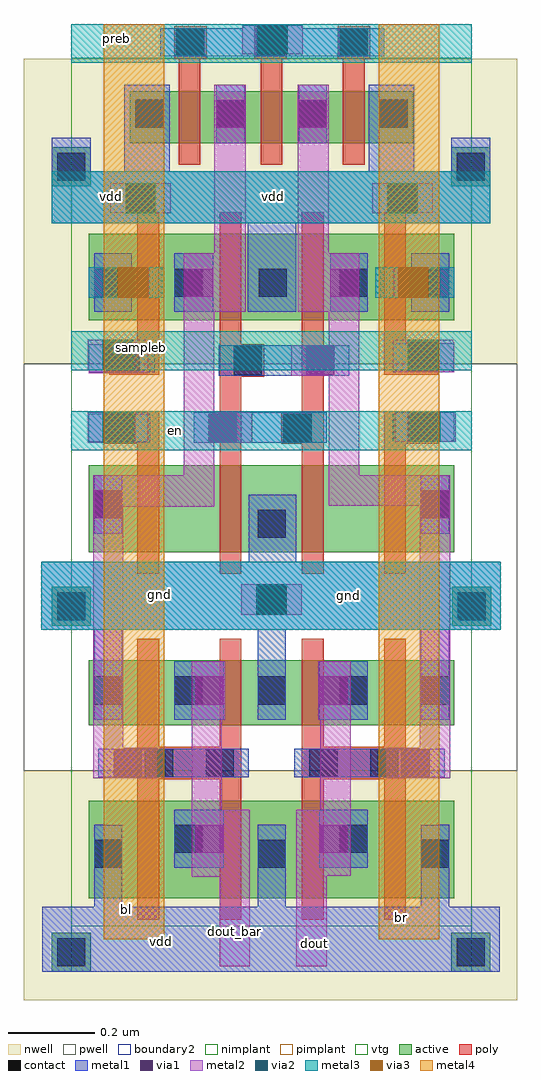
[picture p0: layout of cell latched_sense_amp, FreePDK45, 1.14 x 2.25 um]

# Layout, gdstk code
from math import pi, radians
import gdstk
lib = gdstk.Library(unit=1e-6, precision=5e-10)
def R(c, l, rs):  # rectangles x0, y0, x1, y1
    for r in rs: c.add(gdstk.rectangle(r[:2], r[2:], *l))
def A(c, l, x, y, w, h, nx, ny, dx, dy):  # array of equal rectangles
    R(c, l, [(x+i*dx, y+j*dy, x+i*dx+w, y+j*dy+h) for i in range(nx) for j in range(ny)])
active = (1, 0)
pwell = (2, 0)
nwell = (3, 0)
nimplant = (4, 0)
pimplant = (5, 0)
vtg = (6, 0)
poly = (9, 0)
contact = (10, 0)
metal1 = (11, 0)
via1 = (12, 0)
metal2 = (13, 0)
via2 = (14, 0)
metal3 = (15, 0)
via3 = (16, 0)
metal4 = (17, 0)
boundary2 = (239, 0)

m1_poly_cdns_61174354552 = lib.new_cell('M1_POLY_CDNS_611743545520')
R(m1_poly_cdns_61174354552, poly, [(-0.0375,-0.1075,0.0375,0.1075)])
R(m1_poly_cdns_61174354552, contact, [(-0.0325,-0.1025,0.0325,-0.0375), (-0.0325,0.0375,0.0325,0.1025)])
R(m1_poly_cdns_61174354552, metal1, [(-0.0325,-0.1375,0.0325,0.1375)])

c_m1_poly_cdns_61174354552 = lib.new_cell('M1_POLY_CDNS_611743545521')
R(c_m1_poly_cdns_61174354552, poly, [(-0.0375,-0.0375,0.0375,0.0375)])
R(c_m1_poly_cdns_61174354552, contact, [(-0.0325,-0.0325,0.0325,0.0325)])
R(c_m1_poly_cdns_61174354552, metal1, [(-0.0325,-0.0675,0.0325,0.0675)])

m2_m1_cdns_611743545522 = lib.new_cell('M2_M1_CDNS_611743545522')
R(m2_m1_cdns_611743545522, metal1, [(-0.0325,-0.0675,0.0325,0.0675)])
R(m2_m1_cdns_611743545522, via1, [(-0.0325,-0.0325,0.0325,0.0325)])
R(m2_m1_cdns_611743545522, metal2, [(-0.035,-0.0675,0.035,0.0675)])

m3_m2_cdns_611743545523 = lib.new_cell('M3_M2_CDNS_611743545523')
R(m3_m2_cdns_611743545523, metal2, [(-0.035,-0.07,0.035,0.07)])
R(m3_m2_cdns_611743545523, via2, [(-0.035,-0.035,0.035,0.035)])
R(m3_m2_cdns_611743545523, metal3, [(-0.035,-0.07,0.035,0.07)])

m2_m1_cdns_611743545524 = lib.new_cell('M2_M1_CDNS_611743545524')
R(m2_m1_cdns_611743545524, metal1, [(-0.0325,-0.0675,0.0325,0.0675)])
R(m2_m1_cdns_611743545524, via1, [(-0.0325,-0.0325,0.0325,0.0325)])
R(m2_m1_cdns_611743545524, metal2, [(-0.0675,-0.035,0.0675,0.035)])

m2_m1_via = lib.new_cell('M2_M1_via')
R(m2_m1_via, metal1, [(-0.0675,-0.0325,0.0675,0.0325)])
R(m2_m1_via, via1, [(-0.0325,-0.0325,0.0325,0.0325)])
R(m2_m1_via, metal2, [(-0.035,-0.0675,0.035,0.0675)])

latched_sense_amp = lib.new_cell('latched_sense_amp')
A(latched_sense_amp, active, 0.04, 0.2275, 0.09, 0.09, 3, 1, 0.3775, 0)
A(latched_sense_amp, active, 0.42, 1.5475, 0.09, 0.09, 3, 1, 0.1875, 0)
R(latched_sense_amp, active, [(-0.045,0,0.045,0.09), (0.8775,0,0.9675,0.09), (0.04,0.17,0.885,0.395), (0.225,0.2625,0.315,0.3525), (0.6075,0.2625,0.6975,0.3525), (0.04,0.57,0.885,0.72), (0.04,0.605,0.13,0.695), (0.225,0.605,0.315,0.695), (0.4175,0.605,0.5075,0.695), (0.6075,0.605,0.6975,0.695), (0.795,0.605,0.885,0.695), (-0.045,0.8,0.045,0.89), (0.88,0.8,0.97,0.89), (0.04,0.97,0.885,1.17), (0.04,1.035,0.13,1.125), (0.795,1.035,0.885,1.125), (0.04,1.505,0.885,1.705), (0.04,1.5475,0.13,1.6375), (0.225,1.5475,0.315,1.6375), (-0.045,1.815,0.045,1.905), (0.8775,1.815,0.9675,1.905), (0.135,1.915,0.79,2.035), (0.135,1.9375,0.225,2.0275), (0.3225,1.9375,0.4125,2.0275), (0.5125,1.9375,0.6025,2.0275), (0.7,1.9375,0.79,2.0275)])
R(latched_sense_amp, pwell, [(-0.11,0.465,1.03,1.405)])
R(latched_sense_amp, nwell, [(-0.11,-0.065,1.03,0.465), (-0.11,1.405,1.03,2.11)])
R(latched_sense_amp, nimplant, [(-0.045,0,0.045,0.09), (0.8775,0,0.9675,0.09), (0.04,0.57,0.885,0.72), (0.04,0.97,0.885,1.17), (-0.045,1.815,0.045,1.905), (0.8775,1.815,0.9675,1.905)])
R(latched_sense_amp, pimplant, [(0.04,0.17,0.885,0.395), (-0.045,0.8,0.045,0.89), (0.88,0.8,0.97,0.89), (0.04,1.505,0.885,1.705), (0.135,1.915,0.79,2.035)])
R(latched_sense_amp, vtg, [(0,0.105,0.925,2.1125)])
A(latched_sense_amp, poly, 0.1525, 0.12, 0.05, 0.65, 4, 1, 0.19, 0)
A(latched_sense_amp, poly, 0.2475, 1.865, 0.05, 0.32, 3, 1, 0.19, 0)
R(latched_sense_amp, poly, [(0.1525,0.92,0.2025,1.295), (0.3425,0.92,0.3925,1.755), (0.5325,0.92,0.5825,1.755), (0.7225,0.92,0.7725,1.295), (0.1525,1.38,0.2025,1.755), (0.7225,1.38,0.7725,1.755), (0.4225,2.11,0.4975,2.185)])
A(latched_sense_amp, contact, 0.0525, 0.24, 0.065, 0.065, 3, 1, 0.3775, 0)
A(latched_sense_amp, contact, 0.4325, 1.56, 0.065, 0.065, 3, 1, 0.1875, 0)
R(latched_sense_amp, contact, [(-0.0325,0.0125,0.0325,0.0775), (0.89,0.0125,0.955,0.0775), (0.2375,0.275,0.3025,0.34), (0.62,0.275,0.685,0.34), (0.0525,0.6175,0.1175,0.6825), (0.2375,0.6175,0.3025,0.6825), (0.43,0.6175,0.495,0.6825), (0.62,0.6175,0.685,0.6825), (0.8075,0.6175,0.8725,0.6825), (-0.0325,0.8125,0.0325,0.8775), (0.8925,0.8125,0.9575,0.8775), (0.43,1.0025,0.495,1.0675), (0.0525,1.0475,0.1175,1.1125), (0.8075,1.0475,0.8725,1.1125), (0.0525,1.56,0.1175,1.625), (0.2375,1.56,0.3025,1.625), (-0.0325,1.8275,0.0325,1.8925), (0.89,1.8275,0.955,1.8925), (0.1475,1.95,0.2125,2.015), (0.335,1.95,0.4,2.015), (0.525,1.95,0.59,2.015), (0.7125,1.95,0.7775,2.015), (0.4275,2.115,0.4925,2.18)])
A(latched_sense_amp, metal1, 0.0525, 0.0925, 0.065, 0.1575, 3, 1, 0.3775, 0)
A(latched_sense_amp, metal1, 0.0525, 0.205, 0.065, 0.135, 3, 1, 0.3775, 0)
A(latched_sense_amp, metal1, 0.4325, 1.525, 0.065, 0.135, 3, 1, 0.1875, 0)
R(latched_sense_amp, metal1, [(-0.0675,0,0.99,0.15), (0.2375,0.24,0.3025,0.375), (0.62,0.24,0.685,0.375), (0.0525,0.5825,0.1175,0.7175), (0.2375,0.5825,0.3025,0.7175), (0.43,0.5825,0.495,0.7175), (0.62,0.5825,0.685,0.7175), (0.8075,0.5825,0.8725,0.7175), (0.8075,0.6525,0.8725,0.885), (0.0525,0.66,0.1175,0.8925), (0.43,0.665,0.495,0.895), (-0.07,0.79,0.9925,0.9475), (0.43,0.885,0.495,1.0675), (0.41,0.915,0.52,1.1025), (0.0525,1.0125,0.1175,1.1475), (0.8075,1.0125,0.8725,1.1475), (0.2825,1.2225,0.59,1.2925), (0.34,1.3775,0.6425,1.4475), (0.0525,1.525,0.1175,1.66), (0.2375,1.525,0.3025,1.66), (0.4075,1.525,0.52,1.7625), (-0.045,1.73,0.9675,1.85), (0.1225,1.8075,0.2275,2.05), (0.6875,1.8075,0.7925,2.05), (-0.045,1.85,0.045,1.9275), (0.8775,1.85,0.9675,1.9275), (0.1475,1.915,0.2125,2.05), (0.335,1.915,0.4,2.05), (0.525,1.915,0.59,2.05), (0.7125,1.915,0.7775,2.05), (0.205,2.115,0.7225,2.18), (0.3925,2.115,0.5275,2.18), (0.3975,2.1225,0.5325,2.1875)])
R(latched_sense_amp, via1, [(0.4325,2.1225,0.4975,2.1875)])
R(latched_sense_amp, metal2, [(0.3425,0.0125,0.4125,0.375), (0.52,0.0125,0.59,0.375), (0.2775,0.22,0.3475,0.7175), (0.575,0.2225,0.645,0.7175), (0.05,0.4475,0.12,1.145), (0.805,0.4475,0.875,1.145), (0.05,1.075,0.33,1.1475), (0.595,1.0775,0.875,1.1475), (0.26,1.1325,0.33,1.66), (0.595,1.1325,0.665,1.55), (0.33,1.525,0.4025,2.05), (0.5225,1.525,0.595,2.05), (0.395,2.12,0.535,2.19), (0.3975,2.12,0.5325,2.19)])
R(latched_sense_amp, via2, [(0.43,2.12,0.5,2.19)])
R(latched_sense_amp, metal3, [(-0.07,0.79,0.9925,0.9475), (0,1.205,0.925,1.295), (0,1.39,0.925,1.48), (0.045,1.5575,0.215,1.6275), (0.7025,1.5575,0.865,1.6275), (-0.045,1.73,0.9675,1.85), (0,2.1,0.925,2.19), (0.395,2.12,0.535,2.19)])
R(latched_sense_amp, via3, [(0.1075,1.5575,0.1775,1.6275), (0.755,1.5575,0.825,1.6275)])
R(latched_sense_amp, metal4, [(0.075,0.075,0.215,2.19), (0.71,0.075,0.85,2.19)])
R(latched_sense_amp, boundary2, [(0,0,0.925,2.19)])
latched_sense_amp.add(gdstk.Reference(m1_poly_cdns_61174354552, (0.6525,0.4825), rotation=pi/2))
latched_sense_amp.add(gdstk.Reference(m1_poly_cdns_61174354552, (0.2725,0.4825), rotation=pi/2))
latched_sense_amp.add(gdstk.Reference(c_m1_poly_cdns_61174354552, (0.6525,2.1475), rotation=pi/2))
latched_sense_amp.add(gdstk.Reference(c_m1_poly_cdns_61174354552, (0.275,2.1475), rotation=pi/2))
latched_sense_amp.add(gdstk.Reference(c_m1_poly_cdns_61174354552, (0.81,1.4175), rotation=pi/2))
latched_sense_amp.add(gdstk.Reference(c_m1_poly_cdns_61174354552, (0.115,1.2575), rotation=pi/2))
latched_sense_amp.add(gdstk.Reference(c_m1_poly_cdns_61174354552, (0.5225,1.2575), rotation=pi/2))
latched_sense_amp.add(gdstk.Reference(c_m1_poly_cdns_61174354552, (0.4075,1.4125), rotation=pi/2))
latched_sense_amp.add(gdstk.Reference(c_m1_poly_cdns_61174354552, (0.81,1.2575), rotation=pi/2))
latched_sense_amp.add(gdstk.Reference(c_m1_poly_cdns_61174354552, (0.125,1.4175), rotation=pi/2))
latched_sense_amp.add(gdstk.Reference(m2_m1_cdns_611743545522, (0.16,1.7875), rotation=pi/2))
latched_sense_amp.add(gdstk.Reference(m2_m1_cdns_611743545522, (0.765,1.7875), rotation=pi/2))
latched_sense_amp.add(gdstk.Reference(m2_m1_cdns_611743545522, (0.4625,0.86), rotation=pi/2))
latched_sense_amp.add(gdstk.Reference(m2_m1_cdns_611743545522, (0.5575,1.9825)))
latched_sense_amp.add(gdstk.Reference(m2_m1_cdns_611743545522, (0.3675,1.9825)))
latched_sense_amp.add(gdstk.Reference(m2_m1_cdns_611743545522, (0.63,1.5925)))
latched_sense_amp.add(gdstk.Reference(m2_m1_cdns_611743545522, (0.295,1.5925)))
latched_sense_amp.add(gdstk.Reference(m2_m1_cdns_611743545522, (0.1075,1.2575), rotation=pi/2))
latched_sense_amp.add(gdstk.Reference(m2_m1_cdns_611743545522, (0.575,1.4125), rotation=pi/2))
latched_sense_amp.add(gdstk.Reference(m2_m1_cdns_611743545522, (0.085,1.08)))
latched_sense_amp.add(gdstk.Reference(m2_m1_cdns_611743545522, (0.8175,1.26), rotation=pi/2))
latched_sense_amp.add(gdstk.Reference(m2_m1_cdns_611743545522, (0.84,1.08)))
latched_sense_amp.add(gdstk.Reference(m2_m1_cdns_611743545522, (0.1075,1.4175), rotation=pi/2))
latched_sense_amp.add(gdstk.Reference(m2_m1_cdns_611743545522, (0.795,0.4825), rotation=pi/2))
latched_sense_amp.add(gdstk.Reference(m2_m1_cdns_611743545522, (0.13,0.4825), rotation=3*pi/2))
latched_sense_amp.add(gdstk.Reference(m2_m1_cdns_611743545522, (0.605,0.65)))
latched_sense_amp.add(gdstk.Reference(m2_m1_cdns_611743545522, (0.605,0.3075)))
latched_sense_amp.add(gdstk.Reference(m2_m1_cdns_611743545522, (0.32,0.65)))
latched_sense_amp.add(gdstk.Reference(m2_m1_cdns_611743545522, (0.32,0.3075)))
latched_sense_amp.add(gdstk.Reference(m2_m1_cdns_611743545522, (0.8175,1.42), rotation=pi/2))
latched_sense_amp.add(gdstk.Reference(m2_m1_cdns_611743545522, (0.35,1.2575), rotation=pi/2))
latched_sense_amp.add(gdstk.Reference(m3_m2_cdns_611743545523, (0.16,1.7875), rotation=pi/2))
latched_sense_amp.add(gdstk.Reference(m3_m2_cdns_611743545523, (0.765,1.7875), rotation=pi/2))
latched_sense_amp.add(gdstk.Reference(m3_m2_cdns_611743545523, (0.4625,0.86), rotation=pi/2))
latched_sense_amp.add(gdstk.Reference(m3_m2_cdns_611743545523, (0.11,1.5925), rotation=pi/2))
latched_sense_amp.add(gdstk.Reference(m3_m2_cdns_611743545523, (0.815,1.5925), rotation=pi/2))
latched_sense_amp.add(gdstk.Reference(m3_m2_cdns_611743545523, (0.1075,1.425), rotation=pi/2))
latched_sense_amp.add(gdstk.Reference(m3_m2_cdns_611743545523, (0.8125,1.425), rotation=pi/2))
latched_sense_amp.add(gdstk.Reference(m3_m2_cdns_611743545523, (0.8175,1.26), rotation=pi/2))
latched_sense_amp.add(gdstk.Reference(m3_m2_cdns_611743545523, (0.1075,1.2575), rotation=pi/2))
latched_sense_amp.add(gdstk.Reference(m2_m1_cdns_611743545524, (0.1075,1.5925)))
latched_sense_amp.add(gdstk.Reference(m2_m1_via, (0.8175,1.5925), rotation=pi/2))
latched_sense_amp.add(gdstk.Label('vdd', (0.2075,0.07), layer=11, texttype=0))
latched_sense_amp.add(gdstk.Label('gnd', (0.2025,0.8725), layer=11, texttype=0))
latched_sense_amp.add(gdstk.Label('vdd', (0.0925,1.7925), layer=11, texttype=0))
latched_sense_amp.add(gdstk.Label('dout_bar', (0.3775,0.0925), layer=13, texttype=0))
latched_sense_amp.add(gdstk.Label('dout', (0.5625,0.065), layer=13, texttype=0))
latched_sense_amp.add(gdstk.Label('vdd', (0.4675,1.7925), layer=15, texttype=0))
latched_sense_amp.add(gdstk.Label('gnd', (0.64,0.87), layer=15, texttype=0))
latched_sense_amp.add(gdstk.Label('en', (0.24,1.25), layer=15, texttype=0))
latched_sense_amp.add(gdstk.Label('sampleb', (0.1625,1.4425), layer=15, texttype=0))
latched_sense_amp.add(gdstk.Label('preb', (0.105,2.1575), layer=15, texttype=0))
latched_sense_amp.add(gdstk.Label('bl', (0.1275,0.145), layer=17, texttype=0))
latched_sense_amp.add(gdstk.Label('br', (0.7625,0.125), layer=17, texttype=0))

lib.write_gds('latched_sense_amp.gds')
